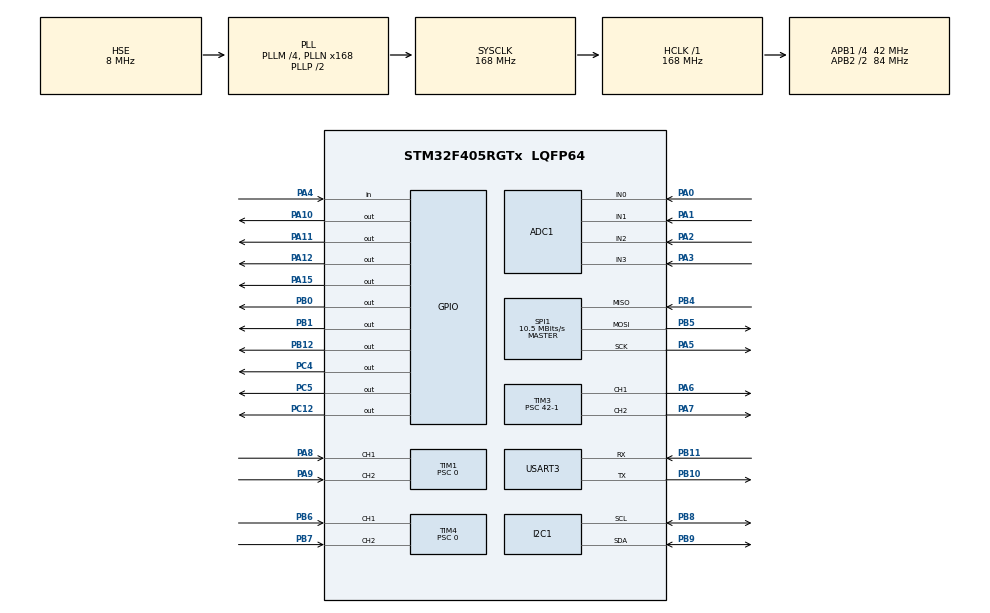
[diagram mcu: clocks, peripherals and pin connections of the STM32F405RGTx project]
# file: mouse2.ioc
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ADC1.Channel-0\#ChannelRegularConversion=ADC_CHANNEL_0
ADC1.NbrOfConversionFlag=1
ADC1.Rank-0\#ChannelRegularConversion=1
ADC1.SamplingTime-0\#ChannelRegularConversion=ADC_SAMPLETIME_3CYCLES
ADC1.master=1
I2C1.I2C_Mode=I2C_Fast
I2C1.NoStretchMode=I2C_NOSTRETCH_ENABLE
I2C1.OwnAddress=0x64
Mcu.Family=STM32F4
Mcu.Name=STM32F405RGTx
Mcu.Package=LQFP64
NVIC.I2C1_ER_IRQn=true\:0\:0\:false\:false\:true\:true\:true
NVIC.I2C1_EV_IRQn=true\:0\:0\:false\:false\:true\:true\:true
NVIC.PriorityGroup=NVIC_PRIORITYGROUP_4
NVIC.TIM6_DAC_IRQn=true\:0\:0\:false\:false\:true\:true\:true
NVIC.TIM7_IRQn=true\:0\:0\:false\:false\:true\:true\:true
PA0-WKUP.Signal=ADCx_IN0
PA1.Signal=ADCx_IN1
PA10.Signal=GPIO_Output
PA11.Signal=GPIO_Output
PA12.Signal=GPIO_Output
PA13.Mode=Trace_Asynchronous_SW
PA13.Signal=SYS_JTMS-SWDIO
PA14.Mode=Trace_Asynchronous_SW
PA14.Signal=SYS_JTCK-SWCLK
PA15.Signal=GPIO_Output
PA2.Signal=ADCx_IN2
PA3.Signal=ADCx_IN3
PA4.Signal=GPIO_Input
PA5.Mode=Full_Duplex_Master
PA5.Signal=SPI1_SCK
PA6.Signal=S_TIM3_CH1
PA7.Signal=S_TIM3_CH2
PA8.Signal=S_TIM1_CH1
PA9.Signal=S_TIM1_CH2
PB0.Signal=GPIO_Output
PB1.Signal=GPIO_Output
PB10.Mode=Asynchronous
PB10.Signal=USART3_TX
PB11.Mode=Asynchronous
PB11.Signal=USART3_RX
PB12.Signal=GPIO_Output
PB3.Mode=Trace_Asynchronous_SW
PB3.Signal=SYS_JTDO-SWO
PB4.Mode=Full_Duplex_Master
PB4.Signal=SPI1_MISO
PB5.Mode=Full_Duplex_Master
PB5.Signal=SPI1_MOSI
PB6.Signal=S_TIM4_CH1
PB7.Signal=S_TIM4_CH2
PB8.Mode=I2C
PB8.Signal=I2C1_SCL
PB9.Mode=I2C
PB9.Signal=I2C1_SDA
PC12.Signal=GPIO_Output
PC14-OSC32_IN.Mode=LSE-External-Oscillator
PC14-OSC32_IN.Signal=RCC_OSC32_IN
PC15-OSC32_OUT.Mode=LSE-External-Oscillator
PC15-OSC32_OUT.Signal=RCC_OSC32_OUT
PC4.Signal=GPIO_Output
PC5.Signal=GPIO_Output
PH0-OSC_IN.Mode=HSE-External-Oscillator
PH0-OSC_IN.Signal=RCC_OSC_IN
PH1-OSC_OUT.Mode=HSE-External-Oscillator
PH1-OSC_OUT.Signal=RCC_OSC_OUT
ProjectManager.HeapSize=0x200
ProjectManager.StackSize=0x400
ProjectManager.TargetToolchain=Makefile
RCC.48MHZClocksFreq_Value=84000000
RCC.AHBFreq_Value=168000000
RCC.APB1CLKDivider=RCC_HCLK_DIV4
RCC.APB1Freq_Value=42000000
RCC.APB1TimFreq_Value=84000000
RCC.APB2CLKDivider=RCC_HCLK_DIV2
RCC.APB2Freq_Value=84000000
RCC.APB2TimFreq_Value=168000000
RCC.CortexFreq_Value=168000000
RCC.HCLKFreq_Value=168000000
RCC.HSE_VALUE=8000000
RCC.HSI_VALUE=16000000
RCC.PLLM=4
RCC.PLLN=168
RCC.PLLSourceVirtual=RCC_PLLSOURCE_HSE
RCC.SYSCLKFreq_VALUE=168000000
RCC.SYSCLKSource=RCC_SYSCLKSOURCE_PLLCLK
RCC.VCOOutputFreq_Value=336000000
SH.ADCx_IN0.0=ADC1_IN0,IN0
SH.ADCx_IN1.0=ADC1_IN1,IN1
SH.ADCx_IN2.0=ADC1_IN2,IN2
SH.ADCx_IN3.0=ADC1_IN3,IN3
SH.S_TIM1_CH1.0=TIM1_CH1,Encoder_Interface
SH.S_TIM1_CH2.0=TIM1_CH2,Encoder_Interface
SH.S_TIM3_CH1.0=TIM3_CH1,PWM Generation1 CH1
SH.S_TIM3_CH2.0=TIM3_CH2,PWM Generation2 CH2
SH.S_TIM4_CH1.0=TIM4_CH1,Encoder_Interface
SH.S_TIM4_CH2.0=TIM4_CH2,Encoder_Interface
SPI1.BaudRatePrescaler=SPI_BAUDRATEPRESCALER_8
SPI1.CLKPhase=SPI_PHASE_2EDGE
SPI1.CLKPolarity=SPI_POLARITY_HIGH
SPI1.CalculateBaudRate=10.5 MBits/s
SPI1.Direction=SPI_DIRECTION_2LINES
SPI1.Mode=SPI_MODE_MASTER
SPI1.VirtualType=VM_MASTER
STMicroelectronics.X-CUBE-ALGOBUILD.1.1.0.DSPOoLibraryJjLibrary.cmp_version0=1.1.0
STMicroelectronics.X-CUBE-ALGOBUILD.1.1.0.DSPOoLibraryJjLibrary.component0=DSP Library
STMicroelectronics.X-CUBE-ALGOBUILD.1.1.0.DSPOoLibraryJjLibrary.description0=DSP library,DSP library required by AlgoBuilder
STMicroelectronics.X-CUBE-ALGOBUILD.1.1.0.DSPOoLibraryJjLibrary.diagnostic0=This component should operate correctly.
STMicroelectronics.X-CUBE-ALGOBUILD.1.1.0.DSPOoLibraryJjLibrary.group0=DSP Library
STMicroelectronics.X-CUBE-ALGOBUILD.1.1.0.DSPOoLibraryJjLibrary.paramName0=LibraryCcDSPOoLibraryJjDSPOoLibrary
STMicroelectronics.X-CUBE-ALGOBUILD.1.1.0.DSPOoLibraryJjLibrary.sevirity0=none
STMicroelectronics.X-CUBE-ALGOBUILD.1.1.0.DSPOoLibraryJjLibrary_bundle=Library
STMicroelectronics.X-CUBE-ALGOBUILD.1.1.0.DSPOoLibraryJjLibrary_class=DSPOoLibrary
STMicroelectronics.X-CUBE-ALGOBUILD.1.1.0.DSPOoLibraryJjLibrary_name=X-CUBE-ALGOBUILD
STMicroelectronics.X-CUBE-ALGOBUILD.1.1.0.DSPOoLibraryJjLibrary_size=1
STMicroelectronics.X-CUBE-ALGOBUILD.1.1.0.DSPOoLibraryJjLibrary_vendor=ARM
STMicroelectronics.X-CUBE-ALGOBUILD.1.1.0.DSPOoLibraryJjLibrary_version=1.1.0
STMicroelectronics.X-CUBE-ALGOBUILD.1.1.0.LibraryCcDSPOoLibraryJjDSPOoLibrary=true
STMicroelectronics.X-CUBE-ALGOBUILD.1.1.0_DSPOoLibraryJjLibrary_RteComponentsize=0
STMicroelectronics.X-CUBE-ALGOBUILD.1.1.0_DeviceJjApplication_RteComponentsize=0
STMicroelectronics.X-CUBE-ALGOBUILD.1.1.0_MotionOoLibrariesJjLibrary_RteComponentsize=0
STMicroelectronics.X-CUBE-ALGOBUILD.1.1.0_MwName0=Library
STMicroelectronics.X-CUBE-ALGOBUILD.1.1.0_NumberOfMw=1
STMicroelectronics.X-CUBE-ALGOBUILD.1.1.0_description=AlgoBuilder Firmware Template Generator
STMicroelectronics.X-CUBE-ALGOBUILD.1.1.0_license=en.DM00367782.pdf
TIM1.EncoderMode=TIM_ENCODERMODE_TI12
TIM1.Period=65535
TIM1.Prescaler=0
TIM3.Channel-PWM\ Generation1\ CH1=TIM_CHANNEL_1
TIM3.Channel-PWM\ Generation2\ CH2=TIM_CHANNEL_2
TIM3.Period=1000 - 1
TIM3.Prescaler=42-1
TIM4.EncoderMode=TIM_ENCODERMODE_TI12
TIM4.Period=65535
TIM4.Prescaler=0
TIM6.Period=1000 - 1
TIM6.Prescaler=84 - 1
TIM7.Period=250 - 1
TIM7.Prescaler=84-1
USART3.VirtualMode=VM_ASYNC
VP_TIM3_VS_ClockSourceINT.Mode=Internal
VP_TIM6_VS_ClockSourceINT.Mode=Enable_Timer
VP_TIM7_VS_ClockSourceINT.Mode=Enable_Timer
board=custom

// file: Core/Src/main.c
/* USER CODE BEGIN Header */
/**
 ******************************************************************************
 * @file           : main.c
 * @brief          : Main program body
 ******************************************************************************
 * @attention
 *
 * <h2><center>&copy; Copyright (c) 2021 STMicroelectronics.
 * All rights reserved.</center></h2>
 *
 * This software component is licensed by ST under BSD 3-Clause license,
 * the "License"; You may not use this file except in compliance with the
 * License. You may obtain a copy of the License at:
 *                        opensource.org/licenses/BSD-3-Clause
 *
 ******************************************************************************
 */
/* USER CODE END Header */

#include "main.h"

/* USER CODE BEGIN Includes */
#include <controllers/pid.h>
#include <delay_us.h>
#include <drivers/encoder.h>
#include <drivers/gyro.h>
#include <drivers/motor.h>
#include <drivers/sensor.h>
#include <global.h>
#include <mouse.h>
#include <stdio.h>
#include <stdlib.h>
// #define ARM_MATH_CM4
#include <arm_math.h>
#include "test.h"

#include "controllers/motion.h"
#include "controllers/tracking.h"
#include "maze/agent.h"
#include "maze/maze.h"
#include "maze/maze_data.h"

/* USER CODE END Includes */

ADC_HandleTypeDef hadc1;

I2C_HandleTypeDef hi2c1;

SPI_HandleTypeDef hspi1;

TIM_HandleTypeDef htim1;
TIM_HandleTypeDef htim3;
TIM_HandleTypeDef htim4;
TIM_HandleTypeDef htim6;
TIM_HandleTypeDef htim7;

UART_HandleTypeDef huart3;

void SystemClock_Config(void);
static void MX_GPIO_Init(void);
static void MX_ADC1_Init(void);
static void MX_I2C1_Init(void);
static void MX_TIM1_Init(void);
static void MX_TIM3_Init(void);
static void MX_USART3_UART_Init(void);
static void MX_SPI1_Init(void);
static void MX_TIM4_Init(void);
static void MX_TIM6_Init(void);
static void MX_TIM7_Init(void);
/* USER CODE BEGIN PFP */

extern void initialise_monitor_handles(void);
extern uint32_t m5timerCount;
extern m5Mouse mouse;
extern uint8_t m5transferRequested;
extern uint8_t m5transferDirection;
extern uint8_t m5i2cbuffer[256];

/* USER CODE END PFP */

int main(void) {
  /* USER CODE BEGIN 1 */
  // #ifdef DEBUG
  // initialise_monitor_handles();
  // #endif

  /* USER CODE END 1 */

  /* MCU Configuration--------------------------------------------------------*/

  /* Reset of all peripherals, Initializes the Flash interface and the Systick.
   */
  HAL_Init();

  /* Configure the system clock */
  SystemClock_Config();

  /* Initialize all configured peripherals */
  MX_GPIO_Init();
  MX_ADC1_Init();
  MX_I2C1_Init();
  MX_TIM1_Init();
  MX_TIM3_Init();
  MX_USART3_UART_Init();
  MX_SPI1_Init();
  MX_TIM4_Init();
  MX_TIM6_Init();
  MX_TIM7_Init();
  /* USER CODE BEGIN 2 */

  // 開始
  m5main_init_mouse();
  m5mouse_start(mouse);
  // mouse->active = 0;

  // 割り込みハンドラの開始
  HAL_TIM_Base_Start_IT(&htim7);
  HAL_TIM_Base_Start_IT(&htim6);
  m5Maze maze = m5maze_constructor();
  m5MazeAgent agent = m5mazeagent_constructor(maze, mouse);
  HAL_Delay(500);
  // m5mouse_slalom(mouse, 90, mouse->cap_velocity.v, mouse->cap_accel.alpha, mouse->cap_velocity.omega);

/*
  m5Motion straight = m5motion_constructor(M5_STRAIGHT, (m5Velocity){0, 0}, (m5Velocity){400, 0}, (m5Velocity){0, 0}, (m5Position){0, M5_MAZE_WIDTH * 8, 0}, (m5Accel){800, 0}, 1000);
  size_t count = 0;
  m5Odometry odo = m5odometry_constructor(M5_DELTA);
  odo->position = (m5Position){20, 0, 0};
  m5Velocity current_velocity = (m5Velocity){0, 0};
  m5Velocity prev_velocity = (m5Velocity){0, 0};
  m5TrackTarget  target;
  while (!straight->is_end) {
    current_velocity = m5v_add(m5v_mul(current_velocity, 0.9), m5v_mul(prev_velocity, 0.1));
    m5odometry_update(odo, current_velocity);
    target = m5motion_get_next(straight);
    m5Velocity v = m5tracking_get_velocity(odo->position, target);
    m5Position pos = odo->position;
    if (count % 20 == 0) {
      printf("time: %d, odo: (%f, %f, %f), target: (%f, %f, %f)\r\n", count, pos.x, pos.y, pos.theta, target.position.x, target.position.y, target.position.theta);
    }
    prev_velocity = v;
    count++;
  }
  m5Position pos = odo->position;
  printf("time: %d, odo: (%f, %f, %f), target: (%f, %f, %f)\r\n", count, pos.x, pos.y, pos.theta, target.position.x, target.position.y, target.position.theta);
  while (1) {
    // hoge
  }

*/
  /* USER CODE END 2 */

  /* Infinite loop */
  /* USER CODE BEGIN WHILE */
  while (1)

  {
    // printf("transfer complete. count: %d\n", count);
    HAL_StatusTypeDef status =
        HAL_I2C_Slave_Receive(&hi2c1, m5i2cbuffer, 1, 200);
    if (status == HAL_OK) {
      switch (m5i2cbuffer[0]) {
        case M5_REGISTER_WHO_AM_I:
          m5i2cbuffer[0] = M5_VALUE_WHO_AM_I;
          HAL_I2C_Slave_Transmit(&hi2c1, m5i2cbuffer, 1, 100);
          break;
        case M5_REGISTER_RUN_SEARCH:
          mouse->cap_velocity = (m5Velocity){M5_VELOCITY_SEARCH, M5_ANG_VELOCITY};
          HAL_Delay(500);
          m5agent_search_run(agent, (m5Index){7, 8});
          break;
        case M5_REGISTER_RUN_FAST:
          // TODO
          // mouse->cap_velocity = (m5Velocity){M5_VELOCITY, M5_ANG_VELOCITY};
          // m5agent_fast_run(agent, (m5Index){7, 8});
          break;
        case M5_REGISTER_TEST_STRAIGHT:
          m5i2cbuffer[0] = m5i2c_count++;
          m5test_straight(mouse);
          HAL_Delay(300);
          break;
        case M5_REGISTER_TEST_SPIN:
          m5i2cbuffer[0] = m5i2c_count++;
          m5test_spin(mouse);
          HAL_Delay(300);
          break;
        case M5_REGISTER_TEST_SLALOM:
          m5i2cbuffer[0] = m5i2c_count++;
          m5test_slalom(mouse);
          HAL_Delay(300);
          break;
        case M5_REGISTER_TEST_ZIG_ZAG:
          m5i2cbuffer[0] = m5i2c_count++;
          m5test_zig_zag(mouse);
          HAL_Delay(300);
          break;
        case M5_REGISTER_TEST_CRANK:
          m5i2cbuffer[0] = m5i2c_count++;
          m5test_crank(mouse);
          HAL_Delay(300);
          break;
        case M5_REGISTER_RESET:
          m5i2cbuffer[0] = m5i2c_count++;
          m5odometry_reset(mouse->odometry);
          HAL_Delay(300);
          break;
        case M5_REGISTER_CALIBRATE:
          HAL_Delay(500);
          m5test_calibrate(mouse);
          HAL_Delay(500);
          m5test_calibrate_wall(mouse);
          mouse->is_wall_adjust_enabled = 1;
          break;
        default:
          m5i2cbuffer[0] = 0xFF;
      }
      while (HAL_I2C_GetState(&hi2c1) != HAL_I2C_STATE_READY)
        ;
    } else {
      // printf("error %d\n", status);
    }
    /* USER CODE END WHILE */

  }
}

void SystemClock_Config(void) {
  RCC_OscInitTypeDef RCC_OscInitStruct = {0};
  RCC_ClkInitTypeDef RCC_ClkInitStruct = {0};

  /** Configure the main internal regulator output voltage
   */
  __HAL_RCC_PWR_CLK_ENABLE();
  __HAL_PWR_VOLTAGESCALING_CONFIG(PWR_REGULATOR_VOLTAGE_SCALE1);
  /** Initializes the CPU, AHB and APB busses clocks
   */
  RCC_OscInitStruct.OscillatorType = RCC_OSCILLATORTYPE_HSE;
  RCC_OscInitStruct.HSEState = RCC_HSE_ON;
  RCC_OscInitStruct.PLL.PLLState = RCC_PLL_ON;
  RCC_OscInitStruct.PLL.PLLSource = RCC_PLLSOURCE_HSE;
  RCC_OscInitStruct.PLL.PLLM = 4;
  RCC_OscInitStruct.PLL.PLLN = 168;
  RCC_OscInitStruct.PLL.PLLP = RCC_PLLP_DIV2;
  RCC_OscInitStruct.PLL.PLLQ = 4;
  if (HAL_RCC_OscConfig(&RCC_OscInitStruct) != HAL_OK) {
    Error_Handler();
  }
  /** Initializes the CPU, AHB and APB busses clocks
   */
  RCC_ClkInitStruct.ClockType = RCC_CLOCKTYPE_HCLK | RCC_CLOCKTYPE_SYSCLK |
                                RCC_CLOCKTYPE_PCLK1 | RCC_CLOCKTYPE_PCLK2;
  RCC_ClkInitStruct.SYSCLKSource = RCC_SYSCLKSOURCE_PLLCLK;
  RCC_ClkInitStruct.AHBCLKDivider = RCC_SYSCLK_DIV1;
  RCC_ClkInitStruct.APB1CLKDivider = RCC_HCLK_DIV4;
  RCC_ClkInitStruct.APB2CLKDivider = RCC_HCLK_DIV2;

  if (HAL_RCC_ClockConfig(&RCC_ClkInitStruct, FLASH_LATENCY_5) != HAL_OK) {
    Error_Handler();
  }
}

static void MX_ADC1_Init(void) {

  ADC_ChannelConfTypeDef sConfig = {0};

  /** Configure the global features of the ADC (Clock, Resolution, Data
   * Alignment and number of conversion)
   */
  hadc1.Instance = ADC1;
  hadc1.Init.ClockPrescaler = ADC_CLOCK_SYNC_PCLK_DIV4;
  hadc1.Init.Resolution = ADC_RESOLUTION_12B;
  hadc1.Init.ScanConvMode = DISABLE;
  hadc1.Init.ContinuousConvMode = DISABLE;
  hadc1.Init.DiscontinuousConvMode = DISABLE;
  hadc1.Init.ExternalTrigConvEdge = ADC_EXTERNALTRIGCONVEDGE_NONE;
  hadc1.Init.ExternalTrigConv = ADC_SOFTWARE_START;
  hadc1.Init.DataAlign = ADC_DATAALIGN_RIGHT;
  hadc1.Init.NbrOfConversion = 1;
  hadc1.Init.DMAContinuousRequests = DISABLE;
  hadc1.Init.EOCSelection = ADC_EOC_SINGLE_CONV;
  if (HAL_ADC_Init(&hadc1) != HAL_OK) {
    Error_Handler();
  }
  /** Configure for the selected ADC regular channel its corresponding rank in
   * the sequencer and its sample time.
   */
  sConfig.Channel = ADC_CHANNEL_0;
  sConfig.Rank = 1;
  sConfig.SamplingTime = ADC_SAMPLETIME_3CYCLES;
  if (HAL_ADC_ConfigChannel(&hadc1, &sConfig) != HAL_OK) {
    Error_Handler();
  }
}

static void MX_I2C1_Init(void) {

  hi2c1.Instance = I2C1;
  hi2c1.Init.ClockSpeed = 400000;
  hi2c1.Init.DutyCycle = I2C_DUTYCYCLE_2;
  hi2c1.Init.OwnAddress1 = 200;
  hi2c1.Init.AddressingMode = I2C_ADDRESSINGMODE_7BIT;
  hi2c1.Init.DualAddressMode = I2C_DUALADDRESS_DISABLE;
  hi2c1.Init.OwnAddress2 = 0;
  hi2c1.Init.GeneralCallMode = I2C_GENERALCALL_DISABLE;
  hi2c1.Init.NoStretchMode = I2C_NOSTRETCH_ENABLE;
  if (HAL_I2C_Init(&hi2c1) != HAL_OK) {
    Error_Handler();
  }
}

static void MX_SPI1_Init(void) {

  /* SPI1 parameter configuration*/
  hspi1.Instance = SPI1;
  hspi1.Init.Mode = SPI_MODE_MASTER;
  hspi1.Init.Direction = SPI_DIRECTION_2LINES;
  hspi1.Init.DataSize = SPI_DATASIZE_8BIT;
  hspi1.Init.CLKPolarity = SPI_POLARITY_HIGH;
  hspi1.Init.CLKPhase = SPI_PHASE_2EDGE;
  hspi1.Init.NSS = SPI_NSS_SOFT;
  hspi1.Init.BaudRatePrescaler = SPI_BAUDRATEPRESCALER_8;
  hspi1.Init.FirstBit = SPI_FIRSTBIT_MSB;
  hspi1.Init.TIMode = SPI_TIMODE_DISABLE;
  hspi1.Init.CRCCalculation = SPI_CRCCALCULATION_DISABLE;
  hspi1.Init.CRCPolynomial = 10;
  if (HAL_SPI_Init(&hspi1) != HAL_OK) {
    Error_Handler();
  }
}

static void MX_TIM1_Init(void) {

  TIM_Encoder_InitTypeDef sConfig = {0};
  TIM_MasterConfigTypeDef sMasterConfig = {0};

  htim1.Instance = TIM1;
  htim1.Init.Prescaler = 0;
  htim1.Init.CounterMode = TIM_COUNTERMODE_UP;
  htim1.Init.Period = 65535;
  htim1.Init.ClockDivision = TIM_CLOCKDIVISION_DIV1;
  htim1.Init.RepetitionCounter = 0;
  htim1.Init.AutoReloadPreload = TIM_AUTORELOAD_PRELOAD_DISABLE;
  sConfig.EncoderMode = TIM_ENCODERMODE_TI12;
  sConfig.IC1Polarity = TIM_ICPOLARITY_RISING;
  sConfig.IC1Selection = TIM_ICSELECTION_DIRECTTI;
  sConfig.IC1Prescaler = TIM_ICPSC_DIV1;
  sConfig.IC1Filter = 0;
  sConfig.IC2Polarity = TIM_ICPOLARITY_RISING;
  sConfig.IC2Selection = TIM_ICSELECTION_DIRECTTI;
  sConfig.IC2Prescaler = TIM_ICPSC_DIV1;
  sConfig.IC2Filter = 0;
  if (HAL_TIM_Encoder_Init(&htim1, &sConfig) != HAL_OK) {
    Error_Handler();
  }
  sMasterConfig.MasterOutputTrigger = TIM_TRGO_RESET;
  sMasterConfig.MasterSlaveMode = TIM_MASTERSLAVEMODE_DISABLE;
  if (HAL_TIMEx_MasterConfigSynchronization(&htim1, &sMasterConfig) != HAL_OK) {
    Error_Handler();
  }
}

static void MX_TIM3_Init(void) {

  TIM_ClockConfigTypeDef sClockSourceConfig = {0};
  TIM_MasterConfigTypeDef sMasterConfig = {0};
  TIM_OC_InitTypeDef sConfigOC = {0};

  htim3.Instance = TIM3;
  htim3.Init.Prescaler = 42 - 1;
  htim3.Init.CounterMode = TIM_COUNTERMODE_UP;
  htim3.Init.Period = 1000 - 1;
  htim3.Init.ClockDivision = TIM_CLOCKDIVISION_DIV1;
  htim3.Init.AutoReloadPreload = TIM_AUTORELOAD_PRELOAD_DISABLE;
  if (HAL_TIM_Base_Init(&htim3) != HAL_OK) {
    Error_Handler();
  }
  sClockSourceConfig.ClockSource = TIM_CLOCKSOURCE_INTERNAL;
  if (HAL_TIM_ConfigClockSource(&htim3, &sClockSourceConfig) != HAL_OK) {
    Error_Handler();
  }
  if (HAL_TIM_PWM_Init(&htim3) != HAL_OK) {
    Error_Handler();
  }
  sMasterConfig.MasterOutputTrigger = TIM_TRGO_RESET;
  sMasterConfig.MasterSlaveMode = TIM_MASTERSLAVEMODE_DISABLE;
  if (HAL_TIMEx_MasterConfigSynchronization(&htim3, &sMasterConfig) != HAL_OK) {
    Error_Handler();
  }
  sConfigOC.OCMode = TIM_OCMODE_PWM1;
  sConfigOC.Pulse = 0;
  sConfigOC.OCPolarity = TIM_OCPOLARITY_HIGH;
  sConfigOC.OCFastMode = TIM_OCFAST_DISABLE;
  if (HAL_TIM_PWM_ConfigChannel(&htim3, &sConfigOC, TIM_CHANNEL_1) != HAL_OK) {
    Error_Handler();
  }
  if (HAL_TIM_PWM_ConfigChannel(&htim3, &sConfigOC, TIM_CHANNEL_2) != HAL_OK) {
    Error_Handler();
  }
  HAL_TIM_MspPostInit(&htim3);
}

static void MX_TIM4_Init(void) {

  TIM_Encoder_InitTypeDef sConfig = {0};
  TIM_MasterConfigTypeDef sMasterConfig = {0};

  htim4.Instance = TIM4;
  htim4.Init.Prescaler = 0;
  htim4.Init.CounterMode = TIM_COUNTERMODE_UP;
  htim4.Init.Period = 65535;
  htim4.Init.ClockDivision = TIM_CLOCKDIVISION_DIV1;
  htim4.Init.AutoReloadPreload = TIM_AUTORELOAD_PRELOAD_DISABLE;
  sConfig.EncoderMode = TIM_ENCODERMODE_TI12;
  sConfig.IC1Polarity = TIM_ICPOLARITY_RISING;
  sConfig.IC1Selection = TIM_ICSELECTION_DIRECTTI;
  sConfig.IC1Prescaler = TIM_ICPSC_DIV1;
  sConfig.IC1Filter = 0;
  sConfig.IC2Polarity = TIM_ICPOLARITY_RISING;
  sConfig.IC2Selection = TIM_ICSELECTION_DIRECTTI;
  sConfig.IC2Prescaler = TIM_ICPSC_DIV1;
  sConfig.IC2Filter = 0;
  if (HAL_TIM_Encoder_Init(&htim4, &sConfig) != HAL_OK) {
    Error_Handler();
  }
  sMasterConfig.MasterOutputTrigger = TIM_TRGO_RESET;
  sMasterConfig.MasterSlaveMode = TIM_MASTERSLAVEMODE_DISABLE;
  if (HAL_TIMEx_MasterConfigSynchronization(&htim4, &sMasterConfig) != HAL_OK) {
    Error_Handler();
  }
}

static void MX_TIM6_Init(void) {

  TIM_MasterConfigTypeDef sMasterConfig = {0};

  htim6.Instance = TIM6;
  htim6.Init.Prescaler = 84 - 1;
  htim6.Init.CounterMode = TIM_COUNTERMODE_UP;
  htim6.Init.Period = 1000 - 1;
  htim6.Init.AutoReloadPreload = TIM_AUTORELOAD_PRELOAD_DISABLE;
  if (HAL_TIM_Base_Init(&htim6) != HAL_OK) {
    Error_Handler();
  }
  sMasterConfig.MasterOutputTrigger = TIM_TRGO_RESET;
  sMasterConfig.MasterSlaveMode = TIM_MASTERSLAVEMODE_DISABLE;
  if (HAL_TIMEx_MasterConfigSynchronization(&htim6, &sMasterConfig) != HAL_OK) {
    Error_Handler();
  }
}

static void MX_TIM7_Init(void) {

  TIM_MasterConfigTypeDef sMasterConfig = {0};

  htim7.Instance = TIM7;
  htim7.Init.Prescaler = 84 - 1;
  htim7.Init.CounterMode = TIM_COUNTERMODE_UP;
  htim7.Init.Period = 250 - 1;
  htim7.Init.AutoReloadPreload = TIM_AUTORELOAD_PRELOAD_DISABLE;
  if (HAL_TIM_Base_Init(&htim7) != HAL_OK) {
    Error_Handler();
  }
  sMasterConfig.MasterOutputTrigger = TIM_TRGO_RESET;
  sMasterConfig.MasterSlaveMode = TIM_MASTERSLAVEMODE_DISABLE;
  if (HAL_TIMEx_MasterConfigSynchronization(&htim7, &sMasterConfig) != HAL_OK) {
    Error_Handler();
  }
}

static void MX_USART3_UART_Init(void) {

  huart3.Instance = USART3;
  huart3.Init.BaudRate = 115200;
  huart3.Init.WordLength = UART_WORDLENGTH_8B;
  huart3.Init.StopBits = UART_STOPBITS_1;
  huart3.Init.Parity = UART_PARITY_NONE;
  huart3.Init.Mode = UART_MODE_TX_RX;
  huart3.Init.HwFlowCtl = UART_HWCONTROL_NONE;
  huart3.Init.OverSampling = UART_OVERSAMPLING_16;
  if (HAL_UART_Init(&huart3) != HAL_OK) {
    Error_Handler();
  }
}

static void MX_GPIO_Init(void) {
  GPIO_InitTypeDef GPIO_InitStruct = {0};

  /* GPIO Ports Clock Enable */
  __HAL_RCC_GPIOC_CLK_ENABLE();
  __HAL_RCC_GPIOH_CLK_ENABLE();
  __HAL_RCC_GPIOA_CLK_ENABLE();
  __HAL_RCC_GPIOB_CLK_ENABLE();

  /*Configure GPIO pin Output Level */
  HAL_GPIO_WritePin(GPIOC, GPIO_PIN_4 | GPIO_PIN_5 | GPIO_PIN_12,
                    GPIO_PIN_RESET);

  /*Configure GPIO pin Output Level */
  HAL_GPIO_WritePin(GPIOB, GPIO_PIN_0 | GPIO_PIN_1 | GPIO_PIN_12,
                    GPIO_PIN_RESET);

  /*Configure GPIO pin Output Level */
  HAL_GPIO_WritePin(GPIOA,
                    GPIO_PIN_10 | GPIO_PIN_11 | GPIO_PIN_12 | GPIO_PIN_15,
                    GPIO_PIN_RESET);

  /*Configure GPIO pin : PA4 */
  GPIO_InitStruct.Pin = GPIO_PIN_4;
  GPIO_InitStruct.Mode = GPIO_MODE_INPUT;
  GPIO_InitStruct.Pull = GPIO_NOPULL;
  HAL_GPIO_Init(GPIOA, &GPIO_InitStruct);

  /*Configure GPIO pins : PC4 PC5 PC12 */
  GPIO_InitStruct.Pin = GPIO_PIN_4 | GPIO_PIN_5 | GPIO_PIN_12;
  GPIO_InitStruct.Mode = GPIO_MODE_OUTPUT_PP;
  GPIO_InitStruct.Pull = GPIO_NOPULL;
  GPIO_InitStruct.Speed = GPIO_SPEED_FREQ_LOW;
  HAL_GPIO_Init(GPIOC, &GPIO_InitStruct);

  /*Configure GPIO pins : PB0 PB1 PB12 */
  GPIO_InitStruct.Pin = GPIO_PIN_0 | GPIO_PIN_1 | GPIO_PIN_12;
  GPIO_InitStruct.Mode = GPIO_MODE_OUTPUT_PP;
  GPIO_InitStruct.Pull = GPIO_NOPULL;
  GPIO_InitStruct.Speed = GPIO_SPEED_FREQ_LOW;
  HAL_GPIO_Init(GPIOB, &GPIO_InitStruct);

  /*Configure GPIO pins : PA10 PA11 PA12 PA15 */
  GPIO_InitStruct.Pin = GPIO_PIN_10 | GPIO_PIN_11 | GPIO_PIN_12 | GPIO_PIN_15;
  GPIO_InitStruct.Mode = GPIO_MODE_OUTPUT_PP;
  GPIO_InitStruct.Pull = GPIO_NOPULL;
  GPIO_InitStruct.Speed = GPIO_SPEED_FREQ_LOW;
  HAL_GPIO_Init(GPIOA, &GPIO_InitStruct);
}

/* USER CODE BEGIN 4 */
void m5main_init_mouse(void) {
  // DRV8835のモード指定（PHASE/ENBLモード）
  HAL_GPIO_WritePin(GPIOA, GPIO_PIN_12, GPIO_PIN_SET);

  // モータ初期化
  m5TimerConfiguration timerMotorL = malloc(sizeof(m5TimerConfigurationRecord));
  timerMotorL->handler = &htim3;
  timerMotorL->channel = TIM_CHANNEL_1;
  m5Motor motorL = malloc(sizeof(m5MotorRecord));
  motorL->dir_port = GPIOA;
  motorL->dir_pin = GPIO_PIN_10;
  motorL->direction = 0;
  motorL->timer = timerMotorL;
  m5motor_init(motorL);
  mouse->motor_l = motorL;

  m5TimerConfiguration timerMotorR = malloc(sizeof(m5TimerConfigurationRecord));
  timerMotorR->handler = &htim3;
  timerMotorR->channel = TIM_CHANNEL_2;
  m5Motor motorR = malloc(sizeof(m5MotorRecord));
  motorR->dir_port = GPIOA;
  motorR->dir_pin = GPIO_PIN_11;
  motorR->direction = 1;
  motorR->timer = timerMotorR;
  m5motor_init(motorR);
  mouse->motor_r = motorR;

  // IMUの初期化
  HAL_Delay(50);
  m5SPIConfiguration spi = malloc(sizeof(m5SPIConfigurationRecord));
  spi->cs_pin = GPIO_PIN_12;
  spi->cs_port = GPIOC;
  spi->handler = &hspi1;
  m5Gyro gyro = malloc(sizeof(m5GyroRecord));
  gyro->spi = spi;
  m5gyro_init(gyro);
  mouse->gyro = gyro;

  // エンコーダの初期化
  m5Encoder encoderL = malloc(sizeof(m5EncoderRecord));
  m5Encoder encoderR = malloc(sizeof(m5EncoderRecord));
  m5TimerConfiguration timerL = malloc(sizeof(m5TimerConfigurationRecord));
  m5TimerConfiguration timerR = malloc(sizeof(m5TimerConfigurationRecord));
  timerL->handler = &htim1;
  encoderL->timer = timerL;
  encoderL->direction = 1;
  m5encoder_init(encoderL);
  mouse->encoder_l = encoderL;
  timerR->handler = &htim4;
  encoderR->timer = timerR;
  encoderR->direction = 0;
  m5encoder_init(encoderR);
  mouse->encoder_r = encoderR;

  m5AnalogConfiguration adRec_l = malloc(sizeof(m5AnalogConfigurationRecord));
  adRec_l->handler = &hadc1;
  adRec_l->channel = (ADC_ChannelConfTypeDef *)ADC_CHANNEL_1;
  m5Sensor sensor_l = malloc(sizeof(m5SensorRecord));
  sensor_l->analog = adRec_l;
  sensor_l->led_port = GPIOC;
  sensor_l->led_pin = GPIO_PIN_5;
  m5sensor_init(sensor_l);

  m5AnalogConfiguration adRec_fl = malloc(sizeof(m5AnalogConfigurationRecord));
  adRec_fl->handler = &hadc1;
  adRec_fl->channel = (ADC_ChannelConfTypeDef *)ADC_CHANNEL_0;
  m5Sensor sensor_fl = malloc(sizeof(m5SensorRecord));
  sensor_fl->analog = adRec_fl;
  sensor_fl->led_port = GPIOC;
  sensor_fl->led_pin = GPIO_PIN_4;
  m5sensor_init(sensor_fl);

  m5AnalogConfiguration adRec_fr = malloc(sizeof(m5AnalogConfigurationRecord));
  adRec_fr->handler = &hadc1;
  adRec_fr->channel = (ADC_ChannelConfTypeDef *)ADC_CHANNEL_3;
  m5Sensor sensor_fr = malloc(sizeof(m5SensorRecord));
  sensor_fr->analog = adRec_fr;
  sensor_fr->led_port = GPIOB;
  sensor_fr->led_pin = GPIO_PIN_1;
  m5sensor_init(sensor_fr);

  m5AnalogConfiguration adRec_r = malloc(sizeof(m5AnalogConfigurationRecord));
  adRec_r->handler = &hadc1;
  adRec_r->channel = (ADC_ChannelConfTypeDef *)ADC_CHANNEL_2;
  m5Sensor sensor_r = malloc(sizeof(m5SensorRecord));
  sensor_r->analog = adRec_r;
  sensor_r->led_port = GPIOB;
  sensor_r->led_pin = GPIO_PIN_0;
  m5sensor_init(sensor_r);

  m5WallSensor ws =
      m5wallsensor_constructor(sensor_l, sensor_fl, sensor_fr, sensor_r);
  mouse->sensor = ws;

  m5PIDController controller_l =
      m5pid_constructor(M5DEFAULT_PGAIN, M5DEFAULT_IGAIN, M5DEFAULT_DGAIN, M5DEFAULT_SATURATION);
  m5PIDController controller_r =
      m5pid_constructor(M5DEFAULT_PGAIN, M5DEFAULT_IGAIN, M5DEFAULT_DGAIN, M5DEFAULT_SATURATION);
  m5PIDController controller_wall = m5pid_constructor(
      M5DEFAULT_WALL_PGAIN, M5DEFAULT_WALL_IGAIN, M5DEFAULT_WALL_DGAIN, 10);
  mouse->controller_l = controller_l;
  mouse->controller_r = controller_r;
  mouse->controller_wall = controller_wall;
  mouse->motion_queue = m5queue_constructor();

  mouse->current_velocity = (m5Velocity){0, 0};
  mouse->target_velocity = (m5Velocity){0, 0};
  mouse->cap_velocity = (m5Velocity){M5_VELOCITY_SEARCH, M5_ANG_VELOCITY};
  mouse->cap_accel = (m5Accel){M5_ACCEL_SEARCH, M5_ANG_ACCEL};
  mouse->is_wall_adjust_enabled = 1;
  mouse->odometry = m5odometry_constructor(M5_DELTA);
}

/* USER CODE END 4 */

void Error_Handler(void) {
  /* USER CODE BEGIN Error_Handler_Debug */
  /* User can add his own implementation to report the HAL error return state */
  while (1) {
    /* USER CODE END WHILE */

    int i = 0;
    GPIOA->BSRR = GPIO_PIN_15;
    for (i = 0; i < 40000000; i++) {
    }
    GPIOA->BSRR = (uint32_t)GPIO_PIN_15 << 16U;
    for (i = 0; i < 40000000; i++) {
    }
    /* USER CODE BEGIN 3 */
  }

  /* USER CODE END Error_Handler_Debug */
}

#ifdef USE_FULL_ASSERT
/**
 * @brief  Reports the name of the source file and the source line number
 *         where the assert_param error has occurred.
 * @param  file: pointer to the source file name
 * @param  line: assert_param error line source number
 * @retval None
 */
void assert_failed(uint8_t *file, uint32_t line) {
  /* USER CODE BEGIN 6 */
  /* User can add his own implementation to report the file name and line
     number,
     tex: printf("Wrong parameters value: file %s on line %d\r\n", file, line)
   */
  /* USER CODE END 6 */
}
#endif /* USE_FULL_ASSERT */

/************************ (C) COPYRIGHT STMicroelectronics *****END OF FILE****/
